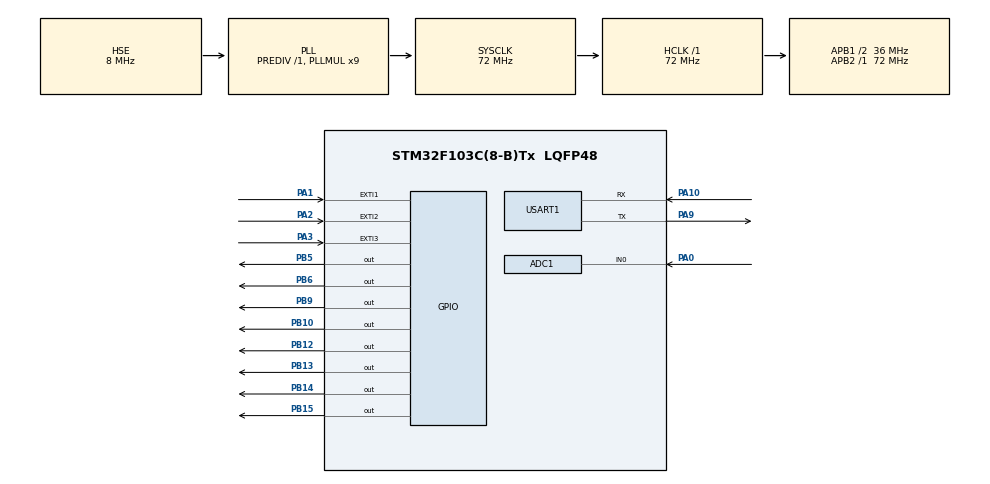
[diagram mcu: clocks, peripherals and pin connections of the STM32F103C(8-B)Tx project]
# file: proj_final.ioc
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ADC1.Channel-0\#ChannelRegularConversion=ADC_CHANNEL_0
ADC1.NbrOfConversionFlag=1
ADC1.Rank-0\#ChannelRegularConversion=1
ADC1.SamplingTime-0\#ChannelRegularConversion=ADC_SAMPLETIME_1CYCLE_5
ADC1.master=1
Dma.Request0=USART1_RX
Dma.Request1=USART1_TX
Dma.USART1_RX.0.Direction=DMA_PERIPH_TO_MEMORY
Dma.USART1_RX.0.Instance=DMA1_Channel5
Dma.USART1_RX.0.MemDataAlignment=DMA_MDATAALIGN_BYTE
Dma.USART1_RX.0.MemInc=DMA_MINC_ENABLE
Dma.USART1_RX.0.Mode=DMA_NORMAL
Dma.USART1_RX.0.PeriphDataAlignment=DMA_PDATAALIGN_BYTE
Dma.USART1_RX.0.PeriphInc=DMA_PINC_DISABLE
Dma.USART1_RX.0.Priority=DMA_PRIORITY_LOW
Dma.USART1_TX.1.Direction=DMA_MEMORY_TO_PERIPH
Dma.USART1_TX.1.Instance=DMA1_Channel4
Dma.USART1_TX.1.MemDataAlignment=DMA_MDATAALIGN_BYTE
Dma.USART1_TX.1.MemInc=DMA_MINC_ENABLE
Dma.USART1_TX.1.Mode=DMA_NORMAL
Dma.USART1_TX.1.PeriphDataAlignment=DMA_PDATAALIGN_BYTE
Dma.USART1_TX.1.PeriphInc=DMA_PINC_DISABLE
Dma.USART1_TX.1.Priority=DMA_PRIORITY_LOW
FREERTOS.Mutexes01=estadoMutex,Dynamic,NULL,Available;bufOutMutex,Dynamic,NULL,Available
FREERTOS.Queues01=fila_uart_eventos,16,uint16_t,0,Dynamic,NULL,NULL
FREERTOS.Tasks01=defaultTask,24,64,StartDefaultTask,Default,NULL,Dynamic,NULL,NULL;fn_checaBotao,8,64,checaBotao,Default,NULL,Dynamic,NULL,NULL;fn_mostraDispla,8,64,mostraDisplay,Default,NULL,Dynamic,NULL,NULL;fn_UART_TX,8,64,UART_TX,Default,NULL,Dynamic,NULL,NULL;fn_UART_RX,8,64,UART_RX,Default,NULL,Dynamic,NULL,NULL
FREERTOS.configMINIMAL_STACK_SIZE=64
FREERTOS.configUSE_NEWLIB_REENTRANT=1
FREERTOS.configUSE_TICK_HOOK=1
Mcu.Family=STM32F1
Mcu.Name=STM32F103C(8-B)Tx
Mcu.Package=LQFP48
NVIC.ADC1_2_IRQn=true\:5\:0\:false\:true\:true\:4\:true\:true\:true\:true
NVIC.DMA1_Channel4_IRQn=true\:5\:0\:false\:false\:true\:true\:false\:true\:true
NVIC.DMA1_Channel5_IRQn=true\:5\:0\:false\:false\:true\:true\:false\:true\:true
NVIC.EXTI1_IRQn=true\:5\:0\:false\:true\:true\:3\:false\:true\:true\:true
NVIC.EXTI2_IRQn=true\:5\:0\:false\:true\:true\:2\:false\:true\:true\:true
NVIC.EXTI3_IRQn=true\:5\:0\:false\:true\:true\:1\:false\:true\:true\:true
NVIC.PriorityGroup=NVIC_PRIORITYGROUP_4
NVIC.TIM4_IRQn=true\:15\:0\:false\:false\:true\:false\:false\:true\:true
NVIC.TimeBase=TIM4_IRQn
NVIC.TimeBaseIP=TIM4
NVIC.USART1_IRQn=true\:5\:0\:false\:true\:true\:5\:true\:true\:true\:true
PA0-WKUP.Signal=ADCx_IN0
PA1.GPIO_ModeDefaultEXTI=GPIO_MODE_IT_FALLING
PA1.Signal=GPXTI1
PA10.Mode=Asynchronous
PA10.Signal=USART1_RX
PA13.Mode=Serial_Wire
PA13.Signal=SYS_JTMS-SWDIO
PA14.Mode=Serial_Wire
PA14.Signal=SYS_JTCK-SWCLK
PA2.GPIO_ModeDefaultEXTI=GPIO_MODE_IT_FALLING
PA2.Signal=GPXTI2
PA3.GPIO_ModeDefaultEXTI=GPIO_MODE_IT_FALLING
PA3.Signal=GPXTI3
PA9.Mode=Asynchronous
PA9.Signal=USART1_TX
PB10.Signal=GPIO_Output
PB12.PinState=GPIO_PIN_SET
PB12.Signal=GPIO_Output
PB13.PinState=GPIO_PIN_SET
PB13.Signal=GPIO_Output
PB14.PinState=GPIO_PIN_SET
PB14.Signal=GPIO_Output
PB15.PinState=GPIO_PIN_SET
PB15.Signal=GPIO_Output
PB5.Signal=GPIO_Output
PB6.Signal=GPIO_Output
PB9.Signal=GPIO_Output
PD0-OSC_IN.Mode=HSE-External-Oscillator
PD0-OSC_IN.Signal=RCC_OSC_IN
PD1-OSC_OUT.Mode=HSE-External-Oscillator
PD1-OSC_OUT.Signal=RCC_OSC_OUT
ProjectManager.HeapSize=0x200
ProjectManager.StackSize=0x400
ProjectManager.TargetToolchain=STM32CubeIDE
RCC.ADCPresc=RCC_ADCPCLK2_DIV6
RCC.AHBFreq_Value=72000000
RCC.APB1CLKDivider=RCC_HCLK_DIV2
RCC.APB1Freq_Value=36000000
RCC.APB1TimFreq_Value=72000000
RCC.APB2Freq_Value=72000000
RCC.APB2TimFreq_Value=72000000
RCC.HCLKFreq_Value=72000000
RCC.PLLMUL=RCC_PLL_MUL9
RCC.PLLSourceVirtual=RCC_PLLSOURCE_HSE
RCC.SYSCLKFreq_VALUE=72000000
RCC.SYSCLKSource=RCC_SYSCLKSOURCE_PLLCLK
RCC.USBFreq_Value=72000000
SH.ADCx_IN0.0=ADC1_IN0,IN0
USART1.VirtualMode=VM_ASYNC
VP_FREERTOS_VS_CMSIS_V2.Mode=CMSIS_V2
VP_SYS_VS_tim4.Mode=TIM4
board=custom

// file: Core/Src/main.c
/* USER CODE BEGIN Header */
/**
  ******************************************************************************
  * @file           : main.c
  * @brief          : Main program body
  ******************************************************************************
  * @attention
  *
  * Copyright (c) 2024 STMicroelectronics.
  * All rights reserved.
  *
  * This software is licensed under terms that can be found in the LICENSE file
  * in the root directory of this software component.
  * If no LICENSE file comes with this software, it is provided AS-IS.
  *
  * Grupo: Arthur Furuta, Erik Lima e Maria Eduarda Brito
  * Projeto de PSE - Prof. João Ranhel
  *
  * notas: J Ranhel - rev 2026.07
  * PA5 =1 na entrada do callBack do RxCpltCallback(), =0 na saída
  * PB7 =1 na entrada do PeriodElapsedCallback(), =0 ma saída
  *
  *
  ******************************************************************************
  */
/* USER CODE END Header */
#include "main.h"
#include "cmsis_os.h"

/* USER CODE BEGIN Includes */
// --- veja includes, macro, e constantes no main.h ---
// #include "funcoes_SPI_display.h"
/* USER CODE END Includes */

/* USER CODE BEGIN PD */
// ---- ver vários #defines (kts, delays, etc) no main.h ----
/* USER CODE END PD */

/* USER CODE BEGIN PM */
//  --- ver macros definidas no main.h ---
/* USER CODE END PM */

ADC_HandleTypeDef hadc1;

UART_HandleTypeDef huart1;
DMA_HandleTypeDef hdma_usart1_rx;
DMA_HandleTypeDef hdma_usart1_tx;

/* Definitions for defaultTask */
osThreadId_t defaultTaskHandle;
const osThreadAttr_t defaultTask_attributes = {
  .name = "defaultTask",
  .stack_size = 64 * 4,
  .priority = (osPriority_t) osPriorityNormal,
};
/* Definitions for fn_checaBotao */
osThreadId_t fn_checaBotaoHandle;
const osThreadAttr_t fn_checaBotao_attributes = {
  .name = "fn_checaBotao",
  .stack_size = 64 * 4,
  .priority = (osPriority_t) osPriorityLow,
};
/* Definitions for fn_mostraDispla */
osThreadId_t fn_mostraDisplaHandle;
const osThreadAttr_t fn_mostraDispla_attributes = {
  .name = "fn_mostraDispla",
  .stack_size = 64 * 4,
  .priority = (osPriority_t) osPriorityLow,
};
/* Definitions for fn_UART_TX */
osThreadId_t fn_UART_TXHandle;
const osThreadAttr_t fn_UART_TX_attributes = {
  .name = "fn_UART_TX",
  .stack_size = 64 * 4,
  .priority = (osPriority_t) osPriorityLow,
};
/* Definitions for fn_UART_RX */
osThreadId_t fn_UART_RXHandle;
const osThreadAttr_t fn_UART_RX_attributes = {
  .name = "fn_UART_RX",
  .stack_size = 64 * 4,
  .priority = (osPriority_t) osPriorityLow,
};
/* Definitions for fila_uart_eventos */
osMessageQueueId_t fila_uart_eventosHandle;
const osMessageQueueAttr_t fila_uart_eventos_attributes = {
  .name = "fila_uart_eventos"
};
/* Definitions for fila_uart_tx */
osMessageQueueId_t fila_uart_txHandle;
const osMessageQueueAttr_t fila_uart_tx_attributes = {
  .name = "fila_uart_tx"
};
/* Definitions for estadoMutex */
osMutexId_t estadoMutexHandle;
const osMutexAttr_t estadoMutex_attributes = {
  .name = "estadoMutex"
};
/* Definitions for bufOutMutex */
osMutexId_t bufOutMutexHandle;
const osMutexAttr_t bufOutMutex_attributes = {
  .name = "bufOutMutex"
};
/* USER CODE BEGIN PV */
// variáveis que todos vamos usar: buffers de entrada/saída na comunicação
// buffers para entrada e saida de dados via USART
uint8_t BufOUT[] = {'0','0','0','0','0'};  // inicia buffer OUT com  "0"
uint8_t BufIN[]  = {'0','0','0','0','0'};  // inicia buffer IN com "0"
int8_t DspHex[]  = {0x10,0x10,0x10,0x10};  // vetor val display (se=16 => off)
size_t sizeBuffs = sizeof(BufOUT);     // tamanho dos buffers - usa geral
// qual dig liga pto? (ex: 0xA=>1010=> 1000=MSD + 0010=DG2)
uint8_t ptoDec = 0;
uint8_t oQueEnv = 0;
volatile uint8_t ping_timeout = 0;
volatile uint8_t link_ok = 0;
int timerBotao = 0;

// os vetores abaixo tem idx[0] = digito menos significativo no display
volatile int8_t estado = ST_TESTE;
// rev 2026.08: a antiga flag única 'estaServ' foi separada em duas,
// pois são conceitos independentes no enunciado (itens d, e, g, g.2):
uint8_t atendendoColega = 0;   // =1 se RECEBI rqsrv e estou servindo o colega
uint8_t a1Pressed = 0;         // =1 depois que A1 foi apertado ao menos 1x
uint8_t ncon_forcado = 0;      // A2 mantém nCon até A1 voltar ao modo normal
int8_t modoBotao = 0;
int8_t testeDisplay[] = {8,8,8,8};
/* 0x11, 0x12 e 0x13 são os glifos minúsculos o, n e r, implementados no driver
 * de 7 segmentos. Os vetores são LSB -> MSB, como Crono e ValAdc. */
int8_t nCon[] = {0x12,0x11,0x0C,0x12};  // "nCon"
int8_t nSer[] = {0x13,0x0E,5,0x12};     // "n5Er"
int8_t Crono[] = {0,0,0,0};            // vetor com vals decimais do cronometro
int8_t ValAdc[] = {0,0,0,0};           // vetor com vals decimais do ADC
int8_t ExCrono[] = {0,0,0,0};          // vetor com vals decimais do cronometro
int8_t ExValAdc[] = {0,0,0,0};         // vetor com vals decimais do ADC
size_t sizeVals = sizeof(Crono);
/* USER CODE END PV */

void SystemClock_Config(void);
static void MX_GPIO_Init(void);
static void MX_DMA_Init(void);
static void MX_ADC1_Init(void);
static void MX_USART1_UART_Init(void);
void StartDefaultTask(void *argument);
void checaBotao(void *argument);
void mostraDisplay(void *argument);
void UART_TX(void *argument);
void UART_RX(void *argument);

static void MX_NVIC_Init(void);

int main(void)
{

  /* MCU Configuration--------------------------------------------------------*/

  /* Reset of all peripherals, Initializes the Flash interface and the Systick. */
  HAL_Init();

  /* Configure the system clock */
  SystemClock_Config();

  /* Initialize all configured peripherals */
  MX_GPIO_Init();
  MX_DMA_Init();
  MX_ADC1_Init();
  MX_USART1_UART_Init();

  /* Initialize interrupts */
  MX_NVIC_Init();

  /* Init scheduler */
  osKernelInitialize();
  /* Create the mutex(es) */
  /* creation of estadoMutex */
  estadoMutexHandle = osMutexNew(&estadoMutex_attributes);

  /* creation of bufOutMutex */
  bufOutMutexHandle = osMutexNew(&bufOutMutex_attributes);

  /* Create the queue(s) */
  /* creation of fila_uart_eventos */
  fila_uart_eventosHandle = osMessageQueueNew(16, sizeof(uart_frame_t), &fila_uart_eventos_attributes);
  fila_uart_txHandle = osMessageQueueNew(16, sizeof(uint8_t), &fila_uart_tx_attributes);

  /* Create the thread(s) */
  /* creation of defaultTask */
  defaultTaskHandle = osThreadNew(StartDefaultTask, NULL, &defaultTask_attributes);

  /* creation of fn_checaBotao */
  fn_checaBotaoHandle = osThreadNew(checaBotao, NULL, &fn_checaBotao_attributes);

  /* creation of fn_mostraDispla */
  fn_mostraDisplaHandle = osThreadNew(mostraDisplay, NULL, &fn_mostraDispla_attributes);

  /* creation of fn_UART_TX */
  fn_UART_TXHandle = osThreadNew(UART_TX, NULL, &fn_UART_TX_attributes);

  /* creation of fn_UART_RX */
  fn_UART_RXHandle = osThreadNew(UART_RX, NULL, &fn_UART_RX_attributes);

  /* Start scheduler */
  osKernelStart();

  /* We should never get here as control is now taken by the scheduler */

  /* Infinite loop */
  while (1)
  {

  }
}

void SystemClock_Config(void)
{
  RCC_OscInitTypeDef RCC_OscInitStruct = {0};
  RCC_ClkInitTypeDef RCC_ClkInitStruct = {0};
  RCC_PeriphCLKInitTypeDef PeriphClkInit = {0};

  /** Initializes the RCC Oscillators according to the specified parameters
  * in the RCC_OscInitTypeDef structure.
  */
  RCC_OscInitStruct.OscillatorType = RCC_OSCILLATORTYPE_HSE;
  RCC_OscInitStruct.HSEState = RCC_HSE_ON;
  RCC_OscInitStruct.HSEPredivValue = RCC_HSE_PREDIV_DIV1;
  RCC_OscInitStruct.HSIState = RCC_HSI_ON;
  RCC_OscInitStruct.PLL.PLLState = RCC_PLL_ON;
  RCC_OscInitStruct.PLL.PLLSource = RCC_PLLSOURCE_HSE;
  RCC_OscInitStruct.PLL.PLLMUL = RCC_PLL_MUL9;
  if (HAL_RCC_OscConfig(&RCC_OscInitStruct) != HAL_OK)
  {
    Error_Handler();
  }

  /** Initializes the CPU, AHB and APB buses clocks
  */
  RCC_ClkInitStruct.ClockType = RCC_CLOCKTYPE_HCLK|RCC_CLOCKTYPE_SYSCLK
                              |RCC_CLOCKTYPE_PCLK1|RCC_CLOCKTYPE_PCLK2;
  RCC_ClkInitStruct.SYSCLKSource = RCC_SYSCLKSOURCE_PLLCLK;
  RCC_ClkInitStruct.AHBCLKDivider = RCC_SYSCLK_DIV1;
  RCC_ClkInitStruct.APB1CLKDivider = RCC_HCLK_DIV2;
  RCC_ClkInitStruct.APB2CLKDivider = RCC_HCLK_DIV1;

  if (HAL_RCC_ClockConfig(&RCC_ClkInitStruct, FLASH_LATENCY_2) != HAL_OK)
  {
    Error_Handler();
  }
  PeriphClkInit.PeriphClockSelection = RCC_PERIPHCLK_ADC;
  PeriphClkInit.AdcClockSelection = RCC_ADCPCLK2_DIV6;
  if (HAL_RCCEx_PeriphCLKConfig(&PeriphClkInit) != HAL_OK)
  {
    Error_Handler();
  }
}

/**
  * @brief NVIC Configuration.
  * @retval None
  */
static void MX_NVIC_Init(void)
{
  /* EXTI3_IRQn interrupt configuration */
  HAL_NVIC_SetPriority(EXTI3_IRQn, 5, 0);
  HAL_NVIC_EnableIRQ(EXTI3_IRQn);
  /* EXTI2_IRQn interrupt configuration */
  HAL_NVIC_SetPriority(EXTI2_IRQn, 5, 0);
  HAL_NVIC_EnableIRQ(EXTI2_IRQn);
  /* EXTI1_IRQn interrupt configuration */
  HAL_NVIC_SetPriority(EXTI1_IRQn, 5, 0);
  HAL_NVIC_EnableIRQ(EXTI1_IRQn);
  /* ADC1_2_IRQn interrupt configuration */
  HAL_NVIC_SetPriority(ADC1_2_IRQn, 5, 0);
  HAL_NVIC_EnableIRQ(ADC1_2_IRQn);
  /* USART1_IRQn interrupt configuration */
  HAL_NVIC_SetPriority(USART1_IRQn, 5, 0);
  HAL_NVIC_EnableIRQ(USART1_IRQn);
}

static void MX_ADC1_Init(void)
{

  ADC_ChannelConfTypeDef sConfig = {0};

  /** Common config
  */
  hadc1.Instance = ADC1;
  hadc1.Init.ScanConvMode = ADC_SCAN_DISABLE;
  hadc1.Init.ContinuousConvMode = DISABLE;
  hadc1.Init.DiscontinuousConvMode = DISABLE;
  hadc1.Init.ExternalTrigConv = ADC_SOFTWARE_START;
  hadc1.Init.DataAlign = ADC_DATAALIGN_RIGHT;
  hadc1.Init.NbrOfConversion = 1;
  if (HAL_ADC_Init(&hadc1) != HAL_OK)
  {
    Error_Handler();
  }

  /** Configure Regular Channel
  */
  sConfig.Channel = ADC_CHANNEL_0;
  sConfig.Rank = ADC_REGULAR_RANK_1;
  sConfig.SamplingTime = ADC_SAMPLETIME_1CYCLE_5;
  if (HAL_ADC_ConfigChannel(&hadc1, &sConfig) != HAL_OK)
  {
    Error_Handler();
  }

}

static void MX_USART1_UART_Init(void)
{

  huart1.Instance = USART1;
  huart1.Init.BaudRate = 115200;
  huart1.Init.WordLength = UART_WORDLENGTH_8B;
  huart1.Init.StopBits = UART_STOPBITS_1;
  huart1.Init.Parity = UART_PARITY_NONE;
  huart1.Init.Mode = UART_MODE_TX_RX;
  huart1.Init.HwFlowCtl = UART_HWCONTROL_NONE;
  huart1.Init.OverSampling = UART_OVERSAMPLING_16;
  if (HAL_UART_Init(&huart1) != HAL_OK)
  {
    Error_Handler();
  }

}

static void MX_DMA_Init(void)
{

  /* DMA controller clock enable */
  __HAL_RCC_DMA1_CLK_ENABLE();

  /* DMA interrupt init */
  /* DMA1_Channel4_IRQn interrupt configuration */
  HAL_NVIC_SetPriority(DMA1_Channel4_IRQn, 5, 0);
  HAL_NVIC_EnableIRQ(DMA1_Channel4_IRQn);
  /* DMA1_Channel5_IRQn interrupt configuration */
  HAL_NVIC_SetPriority(DMA1_Channel5_IRQn, 5, 0);
  HAL_NVIC_EnableIRQ(DMA1_Channel5_IRQn);

}

static void MX_GPIO_Init(void)
{
  GPIO_InitTypeDef GPIO_InitStruct = {0};

  /* GPIO Ports Clock Enable */
  __HAL_RCC_GPIOD_CLK_ENABLE();
  __HAL_RCC_GPIOA_CLK_ENABLE();
  __HAL_RCC_GPIOB_CLK_ENABLE();

  /*Configure GPIO pin Output Level */
  HAL_GPIO_WritePin(GPIOB, GPIO_PIN_10|GPIO_PIN_6|GPIO_PIN_9, GPIO_PIN_RESET);

  /*Configure GPIO pin Output Level */
  HAL_GPIO_WritePin(GPIOB, GPIO_PIN_12|GPIO_PIN_13|GPIO_PIN_14|GPIO_PIN_15, GPIO_PIN_SET);

  /* rev 2026.08: buzzer no PB5 - inicia desligado (mesmo nível ativo-baixo
     dos LEDs B12..B15; se o buzzer soar invertido, troque SET<->RESET aqui
     e em mostraDisplay()) */
  HAL_GPIO_WritePin(BUZZER_GPIO, BUZZER_PIN, GPIO_PIN_SET);

  /*Configure GPIO pins : PA1 PA2 PA3 */
  GPIO_InitStruct.Pin = GPIO_PIN_1|GPIO_PIN_2|GPIO_PIN_3;
  GPIO_InitStruct.Mode = GPIO_MODE_IT_FALLING;
  GPIO_InitStruct.Pull = GPIO_NOPULL;
  HAL_GPIO_Init(GPIOA, &GPIO_InitStruct);

  /*Configure GPIO pins : PB5 PB10 PB12 PB13 PB14
                           PB15 PB6 PB9 */
  GPIO_InitStruct.Pin = GPIO_PIN_5|GPIO_PIN_10|GPIO_PIN_12|GPIO_PIN_13|GPIO_PIN_14
                          |GPIO_PIN_15|GPIO_PIN_6|GPIO_PIN_9;
  GPIO_InitStruct.Mode = GPIO_MODE_OUTPUT_PP;
  GPIO_InitStruct.Pull = GPIO_NOPULL;
  GPIO_InitStruct.Speed = GPIO_SPEED_FREQ_LOW;
  HAL_GPIO_Init(GPIOB, &GPIO_InitStruct);

}

/* USER CODE BEGIN 4 */

// callback do ADC: lê o valor bruto e já monta os 4 dígitos do display
void HAL_ADC_ConvCpltCallback(ADC_HandleTypeDef* hadc)
{
  uint16_t val_adc = 0;                // guarda o valor lido do ADC
  if(hadc->Instance == ADC1) {         // só entra se for o ADC1
    val_adc = HAL_ADC_GetValue(&hadc1);// pega o valor atual do conversor
    int miliVolt = val_adc*3300/4095;
    int uniADC = miliVolt/1000;
    int decADC = (miliVolt-(uniADC*1000))/100;
    int cnsADC = (miliVolt-(uniADC*1000)-(decADC*100))/10;
    int mlsADC = miliVolt-(uniADC*1000)-(decADC*100)-(cnsADC*10);
    ValAdc[3] = uniADC;                // dígito mais significativo
    ValAdc[2] = decADC;
    ValAdc[1] = cnsADC;
    ValAdc[0] = mlsADC;                // dígito menos significativo
  }
}

// ISR só joga o frame na fila e reativa o DMA pra receber o próximo pacote
void HAL_UART_RxCpltCallback(UART_HandleTypeDef *huart) {
    if (huart->Instance == USART1) {
        uart_frame_t frame;
        memcpy(frame.bytes, BufIN, sizeof(frame.bytes));
        (void)osMessageQueuePut(fila_uart_eventosHandle, &frame, 0, 0);
    }

    // recomeça a recepção pra não perder o fluxo
    HAL_UART_Receive_DMA(&huart1, BufIN, sizeBuffs);
}

/* USER CODE END 4 */

void StartDefaultTask(void *argument)
{
  /* USER CODE BEGIN 5 */
  /* Infinite loop */
  for(;;)
  {
	  // essa é a task default - vai colocar algo nela? nope
    osDelay(1);
  }
  /* USER CODE END 5 */
}

void checaBotao(void *argument) {
    // guarda o estado anterior pra detectar borda de aperto com bounce
    uint8_t ultimo_a1 = 1, ultimo_a2 = 1, ultimo_a3 = 1;
    uint32_t delay_antirrebote = 0;

    for(;;) {
        uint8_t a1 = HAL_GPIO_ReadPin(GPIOA, GPIO_PIN_1);
        uint8_t a2 = HAL_GPIO_ReadPin(GPIOA, GPIO_PIN_2);
        uint8_t a3 = HAL_GPIO_ReadPin(GPIOA, GPIO_PIN_3);

        if(delay_antirrebote == 0) {
            // A1 é local e deve funcionar mesmo sem comunicação com a outra placa.
            if(a1 == GPIO_PIN_RESET && ultimo_a1 == GPIO_PIN_SET) {
                if(osMutexAcquire(estadoMutexHandle, 100) == osOK) {
                    if(atendendoColega) {
                        // se eu tava servindo, avisa que não vou mais
                        uint8_t mensagem = sndMSGNSV;
                        (void)osMessageQueuePut(fila_uart_txHandle, &mensagem, 0, 0);
                        atendendoColega = 0;
                    }
                    a1Pressed = 1;
                    ncon_forcado = 0;
                    estado = ST_LOCAL_CRN;
                    osMutexRelease(estadoMutexHandle);
                }
                delay_antirrebote = DT_DEBOUNCING;
            }

            // A2 pede serviço pro colega
            if(a2 == GPIO_PIN_RESET && ultimo_a2 == GPIO_PIN_SET) {
                if(!link_ok) {
                    ncon_forcado = 1;
                }
                uint8_t mensagem = sndREQSRV;
                (void)osMessageQueuePut(fila_uart_txHandle, &mensagem, 0, 0);
                delay_antirrebote = DT_DEBOUNCING;
            }

            // A3 cancela o pedido de serviço
            if(a3 == GPIO_PIN_RESET && ultimo_a3 == GPIO_PIN_SET) {
                if(!link_ok) {
                    ncon_forcado = 1;
                }
                uint8_t mensagem = sndREQOFF;
                (void)osMessageQueuePut(fila_uart_txHandle, &mensagem, 0, 0);
                delay_antirrebote = DT_DEBOUNCING;
            }
        } else {
            delay_antirrebote--;
        }

        ultimo_a1 = a1;
        ultimo_a2 = a2;
        ultimo_a3 = a3;

        osDelay(10);
    }
}

void mostraDisplay(void *argument) {
    // copia o estado atual pra variar o display sem ler metade dos vetores no meio
    int8_t estado_local;
    int8_t ex_crono_local[4];
    int8_t ex_adc_local[4];
    uint32_t led_timer = 0;
    uint8_t led_estado = 0;
    static uint32_t timer_5er = 0;
    static uint8_t mostrando_5er = 0;
    uint32_t timer_tela = 0;
    int8_t estado_anterior = -1;
    uint32_t timer_led_ncon = 0;
    uint8_t led_ncon = 0;

    for(;;) {
        if(osMutexAcquire(estadoMutexHandle, 100) == osOK) {
            estado_local = estado;
            memcpy(ex_crono_local, ExCrono, sizeof(ex_crono_local));
            memcpy(ex_adc_local, ExValAdc, sizeof(ex_adc_local));
            osMutexRelease(estadoMutexHandle);
        } else {
            estado_local = 0;
            memset(ex_crono_local, 0, sizeof(ex_crono_local));
            memset(ex_adc_local, 0, sizeof(ex_adc_local));
        }

        if(link_ok) {
            ncon_forcado = 0;
            timer_led_ncon = 0;
            led_ncon = 0;
        }

        // Cada estado começa seu próprio ciclo de exibição.
        if(estado_local != estado_anterior) {
            estado_anterior = estado_local;
            timer_tela = 0;
        } else if(estado_local != ST_TESTE) {
            timer_tela += DT_MUX_DISP;
            if(timer_tela >= DT_DISPLAY_MD1) {
                timer_tela = 0;
            }
        }

        // 8888 alterna em blocos de 2 s. Nos modos locais, os 2 s finais
        // de cada bloco de 4 s mostram nCon. A2 pode forçar nCon contínuo.
        uint8_t mostrando_ncon = 0;
        if(!link_ok && estado_local != ST_TESTE) {
            mostrando_ncon = ncon_forcado;
            if(estado_local == ST_IDLE || estado_local == ST_AGUARDA_PING ||
               estado_local == ST_ERRO_CONEXAO) {
                mostrando_ncon = ncon_forcado || (timer_tela >= DT_DISPLAY_NCON);
            } else if(estado_local == ST_LOCAL_CRN || estado_local == ST_LOCAL_ADC) {
                mostrando_ncon = ncon_forcado || (timer_tela >= DT_DISPLAY_NCON);
            }
        }

        // alterna o LED pra dar aquele pulso visível
        led_timer += DT_MUX_DISP;
        if(led_timer >= (DT_LEDS + 1)) {
            led_timer = 0;
            led_estado = !led_estado;
        }

        // erro de serviço: mostra 5Er e deixa o buzzer gritando
        if(estado_local == ST_ERRO_SERVICO) {
            if(!mostrando_5er) {
                mostrando_5er = 1;
                timer_5er = 0;
            }
            timer_5er++;
            mostrar_no_display(nSer, 0);
            HAL_GPIO_WritePin(BUZZER_GPIO, BUZZER_PIN, led_estado ? GPIO_PIN_RESET : GPIO_PIN_SET);

            if(timer_5er >= (DT_BUZZER_MS / DT_MUX_DISP)) {
                mostrando_5er = 0;
                HAL_GPIO_WritePin(BUZZER_GPIO, BUZZER_PIN, GPIO_PIN_SET);
                if(osMutexAcquire(estadoMutexHandle, 100) == osOK) {
                    estado = a1Pressed ? ST_LOCAL_CRN : ST_IDLE;
                    osMutexRelease(estadoMutexHandle);
                }
            }
            osDelay(DT_MUX_DISP);
            continue;
        }

        // escolhe o que aparece no display e qual LED pega o pulso
        switch(estado_local) {
            case ST_TESTE:
                mostrar_no_display(testeDisplay, 15);
                break;
            case ST_IDLE:
            case ST_AGUARDA_PING:
            case ST_ERRO_CONEXAO:
                mostrar_no_display(mostrando_ncon ? nCon : testeDisplay, 15);
                HAL_GPIO_WritePin(GPIOB, GPIO_PIN_15|GPIO_PIN_14|GPIO_PIN_13|GPIO_PIN_12, GPIO_PIN_SET);
                break;
            case ST_LOCAL_CRN:
                mostrar_no_display(mostrando_ncon ? nCon : Crono, mostrando_ncon ? 0 : 10);
                HAL_GPIO_WritePin(GPIOB, GPIO_PIN_15, led_estado ? GPIO_PIN_RESET : GPIO_PIN_SET);
                HAL_GPIO_WritePin(GPIOB, GPIO_PIN_14|GPIO_PIN_13|GPIO_PIN_12, GPIO_PIN_SET);
                break;
            case ST_LOCAL_ADC:
                mostrar_no_display(mostrando_ncon ? nCon : ValAdc, mostrando_ncon ? 0 : 8);
                HAL_GPIO_WritePin(GPIOB, GPIO_PIN_14, led_estado ? GPIO_PIN_RESET : GPIO_PIN_SET);
                HAL_GPIO_WritePin(GPIOB, GPIO_PIN_15|GPIO_PIN_13|GPIO_PIN_12, GPIO_PIN_SET);
                break;
            case ST_SERV_CRN:
                mostrar_no_display(mostrando_ncon ? nCon : (a1Pressed ? Crono : testeDisplay),
                                   mostrando_ncon ? 0 : (a1Pressed ? 10 : 15));
                HAL_GPIO_WritePin(GPIOB, GPIO_PIN_15, led_estado ? GPIO_PIN_RESET : GPIO_PIN_SET);
                HAL_GPIO_WritePin(GPIOB, GPIO_PIN_14|GPIO_PIN_13|GPIO_PIN_12, GPIO_PIN_SET);
                break;
            case ST_SERV_ADC:
                mostrar_no_display(mostrando_ncon ? nCon : (a1Pressed ? ValAdc : testeDisplay),
                                   mostrando_ncon ? 0 : (a1Pressed ? 8 : 15));
                HAL_GPIO_WritePin(GPIOB, GPIO_PIN_14, led_estado ? GPIO_PIN_RESET : GPIO_PIN_SET);
                HAL_GPIO_WritePin(GPIOB, GPIO_PIN_15|GPIO_PIN_13|GPIO_PIN_12, GPIO_PIN_SET);
                break;
            case ST_SERV_EXCRN:
                mostrar_no_display(mostrando_ncon ? nCon : ex_crono_local, mostrando_ncon ? 0 : 10);
                HAL_GPIO_WritePin(GPIOB, GPIO_PIN_13, led_estado ? GPIO_PIN_RESET : GPIO_PIN_SET);
                HAL_GPIO_WritePin(GPIOB, GPIO_PIN_15|GPIO_PIN_14|GPIO_PIN_12, GPIO_PIN_SET);
                break;
            case ST_SERV_EXADC:
                mostrar_no_display(mostrando_ncon ? nCon : ex_adc_local, mostrando_ncon ? 0 : 8);
                HAL_GPIO_WritePin(GPIOB, GPIO_PIN_12, led_estado ? GPIO_PIN_RESET : GPIO_PIN_SET);
                HAL_GPIO_WritePin(GPIOB, GPIO_PIN_15|GPIO_PIN_14|GPIO_PIN_13, GPIO_PIN_SET);
                break;
        }

        // No nCon contínuo solicitado por A2/A3, os LEDs descem de PB15 até PB12.
        if(ncon_forcado && !link_ok) {
            timer_led_ncon += DT_MUX_DISP;
            if(timer_led_ncon >= (DT_LEDS + 1)) {
                timer_led_ncon = 0;
                led_ncon = (led_ncon + 1) % 4;
            }

            uint16_t leds_ncon[] = {GPIO_PIN_15, GPIO_PIN_14, GPIO_PIN_13, GPIO_PIN_12};
            HAL_GPIO_WritePin(GPIOB, GPIO_PIN_15|GPIO_PIN_14|GPIO_PIN_13|GPIO_PIN_12,
                              GPIO_PIN_SET);
            HAL_GPIO_WritePin(GPIOB, leds_ncon[led_ncon], GPIO_PIN_RESET);
        }

        osDelay(DT_MUX_DISP);
    }
}

void UART_TX(void *argument) {
    uint8_t mensagem;

    for(;;) {
        if(osMessageQueueGet(fila_uart_txHandle, &mensagem, NULL, osWaitForever) == osOK) {
            // espera a UART ficar livre pra não sobrescrever a tx
            while(huart1.gState != HAL_UART_STATE_READY) {
                osDelay(1);
            }
            if(osMutexAcquire(bufOutMutexHandle, osWaitForever) == osOK) {
                // monta o frame certo conforme a mensagem pedida
                if(mensagem == sndPNGOK) {
                    STR_BUFF(PNGRSP);
                } else if(mensagem == sndPING) {
                    STR_BUFF(PNGPRG);
                } else if(mensagem == sndCRN) {
                    BufOUT[0] = 'c';
                    BufOUT[1] = Crono[0] + '0';
                    BufOUT[2] = Crono[1] + '0';
                    BufOUT[3] = Crono[2] + '0';
                    BufOUT[4] = Crono[3] + '0';
                } else if(mensagem == sndADC) {
                    BufOUT[0] = 'a';
                    BufOUT[1] = ValAdc[0] + '0';
                    BufOUT[2] = ValAdc[1] + '0';
                    BufOUT[3] = ValAdc[2] + '0';
                    BufOUT[4] = ValAdc[3] + '0';
                } else if(mensagem == sndREQCRN) {
                    STR_BUFF(REQCRN);
                } else if(mensagem == sndREQADC) {
                    STR_BUFF(REQADC);
                } else if(mensagem == sndREQSRV) {
                    STR_BUFF(REQSRV);
                } else if(mensagem == sndREQOFF) {
                    STR_BUFF(REQOFF);
                } else if(mensagem == sndMSGNSV) {
                    STR_BUFF(MSGNSV);
                }
                (void)HAL_UART_Transmit_DMA(&huart1, BufOUT, sizeBuffs);
                osMutexRelease(bufOutMutexHandle);
            }
        }
    }
}
  /* USER CODE END UART_TX */

void UART_RX(void *argument) {
    uart_frame_t frame;

    // liga a DMA da UART pra receber sem ficar lendo byte a byte
    HAL_UART_Receive_DMA(&huart1, BufIN, sizeBuffs);

    for(;;) {
        if(osMessageQueueGet(fila_uart_eventosHandle, &frame, NULL, osWaitForever) == osOK) {
            uint8_t evento = rcvNADA;
            uint8_t mensagem = sndNADA;
            if(memcmp(frame.bytes, PNGPRG, 5) == 0) {
                mensagem = sndPNGOK;
            } else if(memcmp(frame.bytes, PNGRSP, 5) == 0) {
                ping_timeout = 0;
                link_ok = 1;
                ncon_forcado = 0;
                if(osMutexAcquire(estadoMutexHandle, 100) == osOK) {
                    if(estado == ST_AGUARDA_PING) {
                        estado = ST_IDLE;
                    }
                    osMutexRelease(estadoMutexHandle);
                }
            } else if(memcmp(frame.bytes, REQCRN, 5) == 0) {
                mensagem = sndCRN;
            } else if(memcmp(frame.bytes, REQADC, 5) == 0) {
                mensagem = sndADC;
            } else if(memcmp(frame.bytes, REQSRV, 5) == 0) {
                evento = rcvREQSRV;
            } else if(memcmp(frame.bytes, REQOFF, 5) == 0) {
                evento = rcvREQOFF;
            } else if(memcmp(frame.bytes, MSGNSV, 5) == 0) {
                evento = rcvMSGNSV;
            } else if(frame.bytes[0] == 'c' && frame.bytes[1] >= '0' && frame.bytes[1] <= '9'
                      && frame.bytes[2] >= '0' && frame.bytes[2] <= '9'
                      && frame.bytes[3] >= '0' && frame.bytes[3] <= '9'
                      && frame.bytes[4] >= '0' && frame.bytes[4] <= '9') {
                // CONVERSÃO DE ASCII: frame do cronômetro remoto
                if(osMutexAcquire(estadoMutexHandle, 100) == osOK) {
                    ExCrono[0] = frame.bytes[1] - '0'; ExCrono[1] = frame.bytes[2] - '0';
                    ExCrono[2] = frame.bytes[3] - '0'; ExCrono[3] = frame.bytes[4] - '0';
                    osMutexRelease(estadoMutexHandle);
                }
            } else if(frame.bytes[0] == 'a' && frame.bytes[1] >= '0' && frame.bytes[1] <= '9'
                      && frame.bytes[2] >= '0' && frame.bytes[2] <= '9'
                      && frame.bytes[3] >= '0' && frame.bytes[3] <= '9'
                      && frame.bytes[4] >= '0' && frame.bytes[4] <= '9') {
                // CONVERSÃO DE ASCII: frame do ADC remoto
                if(osMutexAcquire(estadoMutexHandle, 100) == osOK) {
                    ExValAdc[0] = frame.bytes[1] - '0'; ExValAdc[1] = frame.bytes[2] - '0';
                    ExValAdc[2] = frame.bytes[3] - '0'; ExValAdc[3] = frame.bytes[4] - '0';
                    osMutexRelease(estadoMutexHandle);
                }
            }
            if(mensagem != sndNADA) {
                (void)osMessageQueuePut(fila_uart_txHandle, &mensagem, 0, 0);
            }
            if(evento != rcvNADA) {
            if(osMutexAcquire(estadoMutexHandle, 100) == osOK) {
                switch(evento) {
                    case rcvREQSRV:
                        // colega pediu serviço; eu entro no modo de atendimento
                        atendendoColega = 1;
                        estado = ST_SERV_CRN;
                        break;
                    case rcvREQOFF:
                        // colega desistiu; volto pro meu estado local
                        if(estado >= ST_SERV_CRN && estado <= ST_SERV_EXADC) {
                            estado = a1Pressed ? ST_LOCAL_CRN : ST_IDLE;
                        }
                        atendendoColega = 0;
                        break;
                    case rcvMSGNSV:
                        // colega parou de me atender; toca erro de serviço
                        estado = ST_ERRO_SERVICO;
                        break;
                }
                osMutexRelease(estadoMutexHandle);
            }
            }
        }
    }
}

void HAL_TIM_PeriodElapsedCallback(TIM_HandleTypeDef *htim) {
    // contadores de tempo: cronômetro, ADC, ping e troca de slot
    static uint16_t contaModo = 0;
    static uint16_t contaCRN = 0;
    static uint16_t contaADC = 0;
    static uint16_t ping_timer = 0;
    static uint16_t contaReqRemota = 0;

    if (htim->Instance == TIM4) {
        HAL_IncTick();

        // cronômetro local vai contando em cima do timer
        if (contaCRN >= DT_CRONO) {
            contaCRN = 0;
            if(MD_CRONO == 0) {
                ++Crono[0];
                if (Crono[0] > 9) {
                    Crono[0] = 0;
                    ++Crono[1];
                    if (Crono[1] > 9) {
                        Crono[1] = 0;
                        ++Crono[2];
                        if (Crono[2] > 5) {
                            Crono[2] = 0;
                            ++Crono[3];
                            if (Crono[3] > 9) {
                                Crono[3] = 0;
                            }
                        }
                    }
                }
            }
        } else {
            ++contaCRN;
        }

        // ADC dispara uma leitura na frequência certa
        if (contaADC >= DT_ADC) {
            contaADC = 0;
            HAL_ADC_Start_IT(&hadc1);
        } else {
            ++contaADC;
        }

        // ping periódico: manda msg pra placa e, se não responder, apenas sinaliza
        // a perda da conexão. A tarefa do display alterna nCon com o modo atual.
        if(estado != ST_TESTE) {
            if(++ping_timer >= DT_PING) {
                ping_timer = 0;
                uint8_t mensagem = sndPING;
                (void)osMessageQueuePut(fila_uart_txHandle, &mensagem, 0, 0);

                if(++ping_timeout >= 5) {
                    link_ok = 0;
                    ping_timeout = 0;
                    if(estado == ST_AGUARDA_PING) {
                        estado = ST_IDLE;
                    }
                }
            }
        }

        // máquina de estados do display: troca o slot no tempo certo
        ++contaModo;
        switch(estado) {
            case ST_TESTE:
                if(contaModo >= DT_Inicial) {
                    contaModo = 0;
                    estado = ST_AGUARDA_PING;
                    { uint8_t mensagem = sndPING;
                      (void)osMessageQueuePut(fila_uart_txHandle, &mensagem, 0, 0); }
                }
                break;
            case ST_LOCAL_CRN:
                if(contaModo >= DT_DISPLAY_MD1) {
                    estado = ST_LOCAL_ADC;
                    contaModo = 0;
                }
                break;
            case ST_LOCAL_ADC:
                if(contaModo >= DT_DISPLAY_MD1) {
                    estado = ST_LOCAL_CRN;
                    contaModo = 0;
                }
                break;
            case ST_SERV_CRN:
                if(contaModo >= DT_DISPLAY_MD2) {
                    estado = ST_SERV_ADC;
                    contaModo = 0;
                }
                break;
            case ST_SERV_ADC:
                if(contaModo >= DT_DISPLAY_MD2) {
                    estado = ST_SERV_EXCRN;
                    contaModo = 0;
                    contaReqRemota = 0;
                    { uint8_t mensagem = sndREQCRN;
                      (void)osMessageQueuePut(fila_uart_txHandle, &mensagem, 0, 0); }
                }
                break;
            case ST_SERV_EXCRN:
                // atualiza o cronômetro remoto enquanto esse slot tá ativo
                if(++contaReqRemota >= DT_NEWREQ) {
                    uint8_t mensagem = sndREQCRN;
                    contaReqRemota = 0;
                    (void)osMessageQueuePut(fila_uart_txHandle, &mensagem, 0, 0);
                }
                if(contaModo >= DT_DISPLAY_MD2) {
                    estado = ST_SERV_EXADC;
                    contaModo = 0;
                    contaReqRemota = 0;
                    { uint8_t mensagem = sndREQADC;
                      (void)osMessageQueuePut(fila_uart_txHandle, &mensagem, 0, 0); }
                }
                break;
            case ST_SERV_EXADC:
                // atualiza o ADC remoto enquanto esse slot tá ativo
                if(++contaReqRemota >= DT_NEWREQ) {
                    uint8_t mensagem = sndREQADC;
                    contaReqRemota = 0;
                    (void)osMessageQueuePut(fila_uart_txHandle, &mensagem, 0, 0);
                }
                if(contaModo >= DT_DISPLAY_MD2) {
                    estado = ST_SERV_CRN;
                    contaModo = 0;
                    contaReqRemota = 0;
                }
                break;
            case ST_IDLE:
            case ST_AGUARDA_PING:
            case ST_ERRO_CONEXAO:
            case ST_ERRO_SERVICO:
                contaReqRemota = 0;
                // nesses estados o evento decide o que vai acontecer
                break;
        }
    }
}

void Error_Handler(void)
{
  __disable_irq();
  while (1)
  {
  }
}
